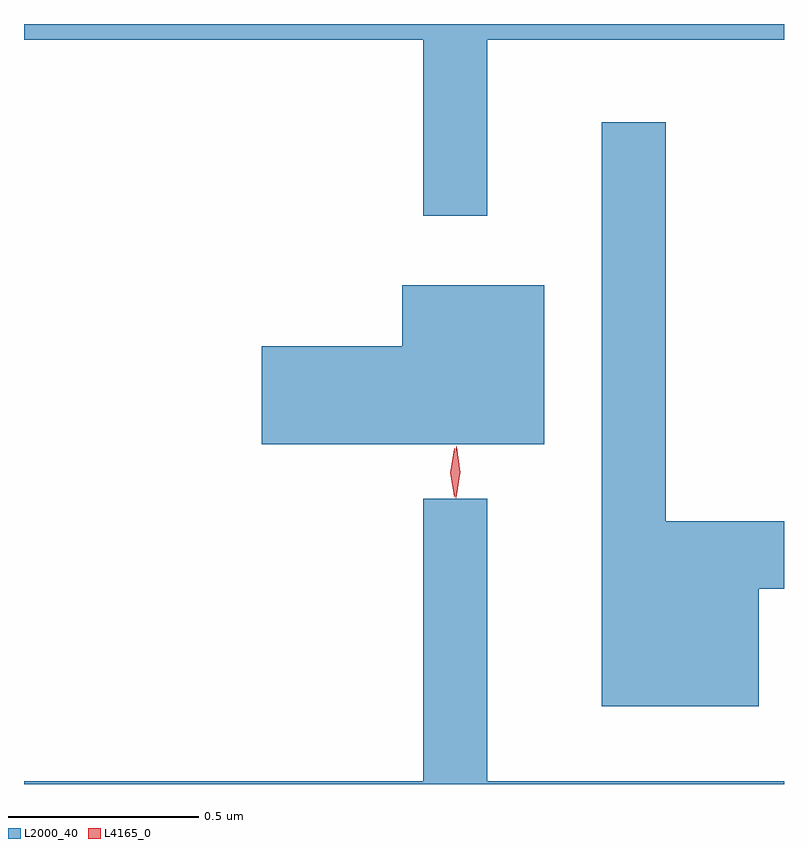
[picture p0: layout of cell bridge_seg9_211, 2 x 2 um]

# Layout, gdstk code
import gdstk
lib = gdstk.Library(unit=1e-6, precision=1e-09)
def P(c, l, *ps):  # polygons
    for p in ps: c.add(gdstk.Polygon(p, *l))
L2000_40 = (2000, 40)
L4165_0 = (4165, 0)

bridge_seg9_211 = lib.new_cell('bridge_seg9_211')
P(bridge_seg9_211, L2000_40, [(1267.059,1987.376),(1267.84,1987.376),(1267.84,1987.417),(1265.84,1987.417),(1265.84,1987.376),(1266.891,1987.376),(1266.891,1986.913),(1267.059,1986.913)],
  [(1267.774,1985.931),(1267.84,1985.931),(1267.84,1986.109),(1267.529,1986.109),(1267.529,1987.158),(1267.361,1987.158),(1267.361,1985.621),(1267.774,1985.621)],
  [(1267.209,1986.729),(1266.836,1986.729),(1266.836,1986.569),(1266.466,1986.569),(1266.466,1986.311),(1267.209,1986.311)],
  [(1267.84,1985.424),(1267.059,1985.424),(1267.059,1986.168),(1266.891,1986.168),(1266.891,1985.424),(1265.84,1985.424),(1265.84,1985.417),(1267.84,1985.417)])
P(bridge_seg9_211, L4165_0, [(1266.972,1986.173),(1266.972,1986.173),(1266.962,1986.236),(1266.972,1986.299),(1266.972,1986.3),(1266.973,1986.299),(1266.982,1986.236),(1266.973,1986.173)],
  [(1266.976,1986.17),(1266.968,1986.238),(1266.978,1986.305),(1266.979,1986.306),(1266.979,1986.305),(1266.988,1986.238),(1266.977,1986.17),(1266.977,1986.17)])

lib.write_gds('bridge_seg9_211.gds')
